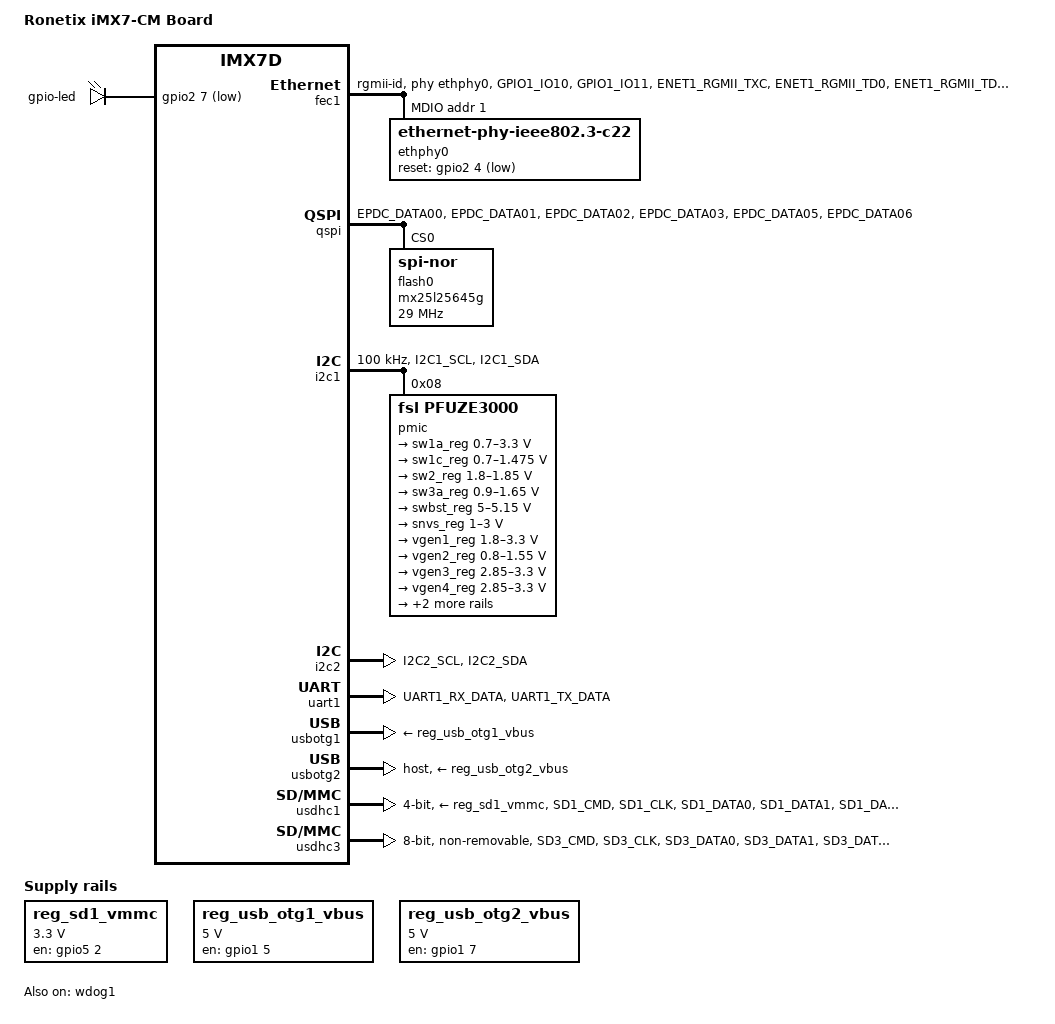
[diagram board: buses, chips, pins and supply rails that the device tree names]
// SPDX-License-Identifier: (GPL-2.0+ OR MIT)
//
// Copyright 2021 Ronetix GmbH

/dts-v1/;

#include "imx7d.dtsi"

/ {
	model = "Ronetix iMX7-CM Board";
	compatible = "ronetix,imx7-cm", "fsl,imx7d";

	chosen {
		stdout-path = &uart1;
	};

	/* DRAM size runtime extracted from the DDRC registers */
	memory@80000000 {
		device_type = "memory";
		reg = <0x80000000 0>;
	};

	leds {
		compatible = "gpio-leds";
		pinctrl-names = "default";
		pinctrl-0 = <&pinctrl_gpio_leds>;

		led {
			label = "gpio-led";
			gpios = <&gpio2 7 GPIO_ACTIVE_LOW>;
		};
	};

	reg_sd1_vmmc: regulator-sd1-vmmc {
		compatible = "regulator-fixed";
		regulator-name = "VDD_SD1";
		regulator-min-microvolt = <3300000>;
		regulator-max-microvolt = <3300000>;
		gpio = <&gpio5 2 GPIO_ACTIVE_HIGH>;
		startup-delay-us = <200000>;
		off-on-delay-us = <20000>;
		enable-active-high;
	};

	reg_usb_otg1_vbus: regulator-usb-otg1-vbus {
		pinctrl-names = "default";
		pinctrl-0 = <&pinctrl_usbotg1_pwr>;
		compatible = "regulator-fixed";
		regulator-name = "usb_otg1_vbus";
		regulator-min-microvolt = <5000000>;
		regulator-max-microvolt = <5000000>;
		gpio = <&gpio1 5 GPIO_ACTIVE_HIGH>;
		enable-active-high;
	};

	reg_usb_otg2_vbus: regulator-usb-otg2-vbus {
		pinctrl-names = "default";
		pinctrl-0 = <&pinctrl_usbotg2_pwr>;
		compatible = "regulator-fixed";
		regulator-name = "usb_otg2_vbus";
		regulator-min-microvolt = <5000000>;
		regulator-max-microvolt = <5000000>;
		gpio = <&gpio1 7 GPIO_ACTIVE_HIGH>;
		enable-active-high;
	};
};

&clks {
	assigned-clocks = <&clks IMX7D_CLKO2_ROOT_SRC>,
			  <&clks IMX7D_CLKO2_ROOT_DIV>;
	assigned-clock-parents = <&clks IMX7D_CKIL>;
	assigned-clock-rates = <0>, <32768>;
};

&fec1 {
	pinctrl-names = "default";
	pinctrl-0 = <&pinctrl_enet1>;
	phy-mode = "rgmii-id";
	phy-handle = <&ethphy0>;
	fsl,magic-packet;
	status = "okay";

	mdio {
		#address-cells = <1>;
		#size-cells = <0>;

		ethphy0: ethernet-phy@1 {
			compatible = "ethernet-phy-ieee802.3-c22";
			reg = <1>;
			reset-gpios = <&gpio2 4 GPIO_ACTIVE_LOW>;
			reset-assert-us = <10000>;
		};
	};
};

&qspi {
	pinctrl-names = "default";
	pinctrl-0 = <&pinctrl_qspi1_1>;
	status = "okay";
	ddrsmp=<0>;

	flash0: mx25l25645g@0 {
		#address-cells = <1>;
		#size-cells = <1>;
		compatible = "jedec,spi-nor";
		spi-max-frequency = <29000000>;
		reg = <0>;
	};
};

&i2c1 {
	clock-frequency = <100000>;
	pinctrl-names = "default";
	pinctrl-0 = <&pinctrl_i2c1>;
	status = "okay";

	pmic@8 {
		compatible = "fsl,pfuze3000";
		reg = <0x08>;

		regulators {
			sw1a_reg: sw1a {
				regulator-min-microvolt = <700000>;
				regulator-max-microvolt = <3300000>;
				regulator-boot-on;
				regulator-always-on;
				regulator-ramp-delay = <6250>;
			};
			/* use sw1c_reg to align with pfuze100/pfuze200 */
			sw1c_reg: sw1b {
				regulator-min-microvolt = <700000>;
				regulator-max-microvolt = <1475000>;
				regulator-boot-on;
				regulator-always-on;
				regulator-ramp-delay = <6250>;
			};

			sw2_reg: sw2 {
				regulator-min-microvolt = <1800000>;
				regulator-max-microvolt = <1850000>;
				regulator-boot-on;
				regulator-always-on;
			};

			sw3a_reg: sw3 {
				regulator-min-microvolt = <900000>;
				regulator-max-microvolt = <1650000>;
				regulator-boot-on;
				regulator-always-on;
			};

			swbst_reg: swbst {
				regulator-min-microvolt = <5000000>;
				regulator-max-microvolt = <5150000>;
			};

			snvs_reg: vsnvs {
				regulator-min-microvolt = <1000000>;
				regulator-max-microvolt = <3000000>;
				regulator-boot-on;
				regulator-always-on;
			};

			vref_reg: vrefddr {
				regulator-boot-on;
				regulator-always-on;
			};

			vgen1_reg: vldo1 {
				regulator-min-microvolt = <1800000>;
				regulator-max-microvolt = <3300000>;
				regulator-always-on;
			};

			vgen2_reg: vldo2 {
				regulator-min-microvolt = <800000>;
				regulator-max-microvolt = <1550000>;
			};

			vgen3_reg: vccsd {
				regulator-min-microvolt = <2850000>;
				regulator-max-microvolt = <3300000>;
				regulator-always-on;
			};

			vgen4_reg: v33 {
				regulator-min-microvolt = <2850000>;
				regulator-max-microvolt = <3300000>;
				regulator-always-on;
			};

			vgen5_reg: vldo3 {
				regulator-min-microvolt = <1800000>;
				regulator-max-microvolt = <3300000>;
				regulator-always-on;
			};

			vgen6_reg: vldo4 {
				regulator-min-microvolt = <1800000>;
				regulator-max-microvolt = <3300000>;
				regulator-always-on;
			};
		};
	};
};

&i2c2 {
	pinctrl-names = "default";
	pinctrl-0 = <&pinctrl_i2c2>;
	status = "okay";
};

&uart1 { /* console */
	pinctrl-names = "default";
	pinctrl-0 = <&pinctrl_uart1>;
	status = "okay";
};

&usbotg1 {
	vbus-supply = <&reg_usb_otg1_vbus>;
	status = "okay";
};

&usbotg2 {
	vbus-supply = <&reg_usb_otg2_vbus>;
	dr_mode = "host";
	status = "okay";
};

/* SD card */
&usdhc1 {
	pinctrl-names = "default", "state_100mhz", "state_200mhz";
	pinctrl-0 = <&pinctrl_usdhc1>, <&pinctrl_usdhc1_gpio>;
	pinctrl-1 = <&pinctrl_usdhc1_100mhz>, <&pinctrl_usdhc1_gpio>;
	pinctrl-2 = <&pinctrl_usdhc1_200mhz>, <&pinctrl_usdhc1_gpio>;
	cd-gpios = <&gpio5 0 GPIO_ACTIVE_HIGH>;
	bus-width = <4>;
	tuning-step = <2>;
	vmmc-supply = <&reg_sd1_vmmc>;
	wakeup-source;
	no-1-8-v;
	keep-power-in-suspend;
	status = "okay";
};

/* eMMC */
&usdhc3 {
	pinctrl-names = "default", "state_100mhz", "state_200mhz";
	pinctrl-0 = <&pinctrl_usdhc3>;
	pinctrl-1 = <&pinctrl_usdhc3_100mhz>;
	pinctrl-2 = <&pinctrl_usdhc3_200mhz>;
	assigned-clocks = <&clks IMX7D_USDHC3_ROOT_CLK>;
	assigned-clock-rates = <400000000>;
	bus-width = <8>;
	no-1-8-v;
	fsl,tuning-step = <2>;
	non-removable;
	status = "okay";
};

&wdog1 {
	pinctrl-names = "default";
	pinctrl-0 = <&pinctrl_wdog>;
	fsl,ext-reset-output;
	status = "okay";
};

&iomuxc {
	pinctrl_i2c1: i2c1grp {
		fsl,pins = <
			MX7D_PAD_I2C1_SCL__I2C1_SCL	0x4000007f
			MX7D_PAD_I2C1_SDA__I2C1_SDA	0x4000007f
		>;
	};

	pinctrl_i2c2: i2c2grp {
		fsl,pins = <
			MX7D_PAD_I2C2_SCL__I2C2_SCL	0x4000007f
			MX7D_PAD_I2C2_SDA__I2C2_SDA	0x4000007f
		>;
	};

	pinctrl_enet1: enet1grp {
		fsl,pins = <
			MX7D_PAD_GPIO1_IO10__ENET1_MDIO				0x3
			MX7D_PAD_GPIO1_IO11__ENET1_MDC				0x3
			MX7D_PAD_ENET1_RGMII_TXC__ENET1_RGMII_TXC	0x1
			MX7D_PAD_ENET1_RGMII_TD0__ENET1_RGMII_TD0	0x1
			MX7D_PAD_ENET1_RGMII_TD1__ENET1_RGMII_TD1	0x1
			MX7D_PAD_ENET1_RGMII_TD2__ENET1_RGMII_TD2	0x1
			MX7D_PAD_ENET1_RGMII_TD3__ENET1_RGMII_TD3	0x1
			MX7D_PAD_ENET1_RGMII_TX_CTL__ENET1_RGMII_TX_CTL	0x1
			MX7D_PAD_ENET1_RGMII_RXC__ENET1_RGMII_RXC	0x1
			MX7D_PAD_ENET1_RGMII_RD0__ENET1_RGMII_RD0	0x1
			MX7D_PAD_ENET1_RGMII_RD1__ENET1_RGMII_RD1	0x1
			MX7D_PAD_ENET1_RGMII_RD2__ENET1_RGMII_RD2	0x1
			MX7D_PAD_ENET1_RGMII_RD3__ENET1_RGMII_RD3	0x1
			MX7D_PAD_ENET1_RGMII_RX_CTL__ENET1_RGMII_RX_CTL	0x1
			MX7D_PAD_EPDC_DATA04__GPIO2_IO4	0x14	/* ETH_RESET */
		>;
	};

	pinctrl_gpio_leds: gpioledsgrp {
		fsl,pins = <
			MX7D_PAD_EPDC_DATA07__GPIO2_IO7		0x14
		>;
	};

	pinctrl_uart1: uart1grp {
		fsl,pins = <
			MX7D_PAD_UART1_RX_DATA__UART1_DCE_RX	0x59
			MX7D_PAD_UART1_TX_DATA__UART1_DCE_TX	0x59
		>;
	};

	pinctrl_usbotg1_pwr: usbotg_pwr {
		fsl,pins = <
			MX7D_PAD_LPSR_GPIO1_IO05__GPIO1_IO5	0x14
		>;
	};

	pinctrl_usbotg2_pwr: usbotg_pwr {
		fsl,pins = <
			MX7D_PAD_LPSR_GPIO1_IO07__GPIO1_IO7	0x14
		>;
	};

	pinctrl_usdhc1_gpio: usdhc1_gpiogrp {
		fsl,pins = <
			MX7D_PAD_SD1_CD_B__GPIO5_IO0		0x15 /* CD */
			MX7D_PAD_SD1_RESET_B__GPIO5_IO2		0x59 /* Vmmc */
			MX7D_PAD_GPIO1_IO08__SD1_VSELECT	0x59 /* VSELECT */
		>;
	};

	pinctrl_usdhc1: usdhc1grp {
		fsl,pins = <
			MX7D_PAD_SD1_CMD__SD1_CMD			0x59
			MX7D_PAD_SD1_CLK__SD1_CLK			0x19
			MX7D_PAD_SD1_DATA0__SD1_DATA0		0x59
			MX7D_PAD_SD1_DATA1__SD1_DATA1		0x59
			MX7D_PAD_SD1_DATA2__SD1_DATA2		0x59
			MX7D_PAD_SD1_DATA3__SD1_DATA3		0x59
		>;
	};

	pinctrl_usdhc1_100mhz: usdhc1grp_100mhz {
		fsl,pins = <
			MX7D_PAD_SD1_CMD__SD1_CMD			0x5a
			MX7D_PAD_SD1_CLK__SD1_CLK			0x1a
			MX7D_PAD_SD1_DATA0__SD1_DATA0		0x5a
			MX7D_PAD_SD1_DATA1__SD1_DATA1		0x5a
			MX7D_PAD_SD1_DATA2__SD1_DATA2		0x5a
			MX7D_PAD_SD1_DATA3__SD1_DATA3		0x5a
		>;
	};

	pinctrl_usdhc1_200mhz: usdhc1grp_200mhz {
		fsl,pins = <
			MX7D_PAD_SD1_CMD__SD1_CMD			0x5b
			MX7D_PAD_SD1_CLK__SD1_CLK			0x1b
			MX7D_PAD_SD1_DATA0__SD1_DATA0		0x5b
			MX7D_PAD_SD1_DATA1__SD1_DATA1		0x5b
			MX7D_PAD_SD1_DATA2__SD1_DATA2		0x5b
			MX7D_PAD_SD1_DATA3__SD1_DATA3		0x5b
		>;
	};

	pinctrl_usdhc3: usdhc3grp {
		fsl,pins = <
			MX7D_PAD_SD3_CMD__SD3_CMD		0x59
			MX7D_PAD_SD3_CLK__SD3_CLK		0x19
			MX7D_PAD_SD3_DATA0__SD3_DATA0		0x59
			MX7D_PAD_SD3_DATA1__SD3_DATA1		0x59
			MX7D_PAD_SD3_DATA2__SD3_DATA2		0x59
			MX7D_PAD_SD3_DATA3__SD3_DATA3		0x59
			MX7D_PAD_SD3_DATA4__SD3_DATA4		0x59
			MX7D_PAD_SD3_DATA5__SD3_DATA5		0x59
			MX7D_PAD_SD3_DATA6__SD3_DATA6		0x59
			MX7D_PAD_SD3_DATA7__SD3_DATA7		0x59
		>;
	};

	pinctrl_usdhc3_100mhz: usdhc3grp_100mhz {
		fsl,pins = <
			MX7D_PAD_SD3_CMD__SD3_CMD		0x5a
			MX7D_PAD_SD3_CLK__SD3_CLK		0x1a
			MX7D_PAD_SD3_DATA0__SD3_DATA0		0x5a
			MX7D_PAD_SD3_DATA1__SD3_DATA1		0x5a
			MX7D_PAD_SD3_DATA2__SD3_DATA2		0x5a
			MX7D_PAD_SD3_DATA3__SD3_DATA3		0x5a
			MX7D_PAD_SD3_DATA4__SD3_DATA4		0x5a
			MX7D_PAD_SD3_DATA5__SD3_DATA5		0x5a
			MX7D_PAD_SD3_DATA6__SD3_DATA6		0x5a
			MX7D_PAD_SD3_DATA7__SD3_DATA7		0x5a
		>;
	};

	pinctrl_usdhc3_200mhz: usdhc3grp_200mhz {
		fsl,pins = <
			MX7D_PAD_SD3_CMD__SD3_CMD		0x5b
			MX7D_PAD_SD3_CLK__SD3_CLK		0x1b
			MX7D_PAD_SD3_DATA0__SD3_DATA0		0x5b
			MX7D_PAD_SD3_DATA1__SD3_DATA1		0x5b
			MX7D_PAD_SD3_DATA2__SD3_DATA2		0x5b
			MX7D_PAD_SD3_DATA3__SD3_DATA3		0x5b
			MX7D_PAD_SD3_DATA4__SD3_DATA4		0x5b
			MX7D_PAD_SD3_DATA5__SD3_DATA5		0x5b
			MX7D_PAD_SD3_DATA6__SD3_DATA6		0x5b
			MX7D_PAD_SD3_DATA7__SD3_DATA7		0x5b
		>;
	};

	pinctrl_qspi1_1: qspi1grp_1 {
			fsl,pins = <
				MX7D_PAD_EPDC_DATA00__QSPI_A_DATA0 	0x51
				MX7D_PAD_EPDC_DATA01__QSPI_A_DATA1 	0x51
				MX7D_PAD_EPDC_DATA02__QSPI_A_DATA2 	0x51
				MX7D_PAD_EPDC_DATA03__QSPI_A_DATA3 	0x51
				MX7D_PAD_EPDC_DATA05__QSPI_A_SCLK 	0x51
				MX7D_PAD_EPDC_DATA06__QSPI_A_SS0_B 	0x51
			>;
		};
};

&iomuxc_lpsr {
	pinctrl_wdog: wdoggrp {
		fsl,pins = <
			MX7D_PAD_LPSR_GPIO1_IO00__WDOG1_WDOG_B	0x74
		>;
	};
};
